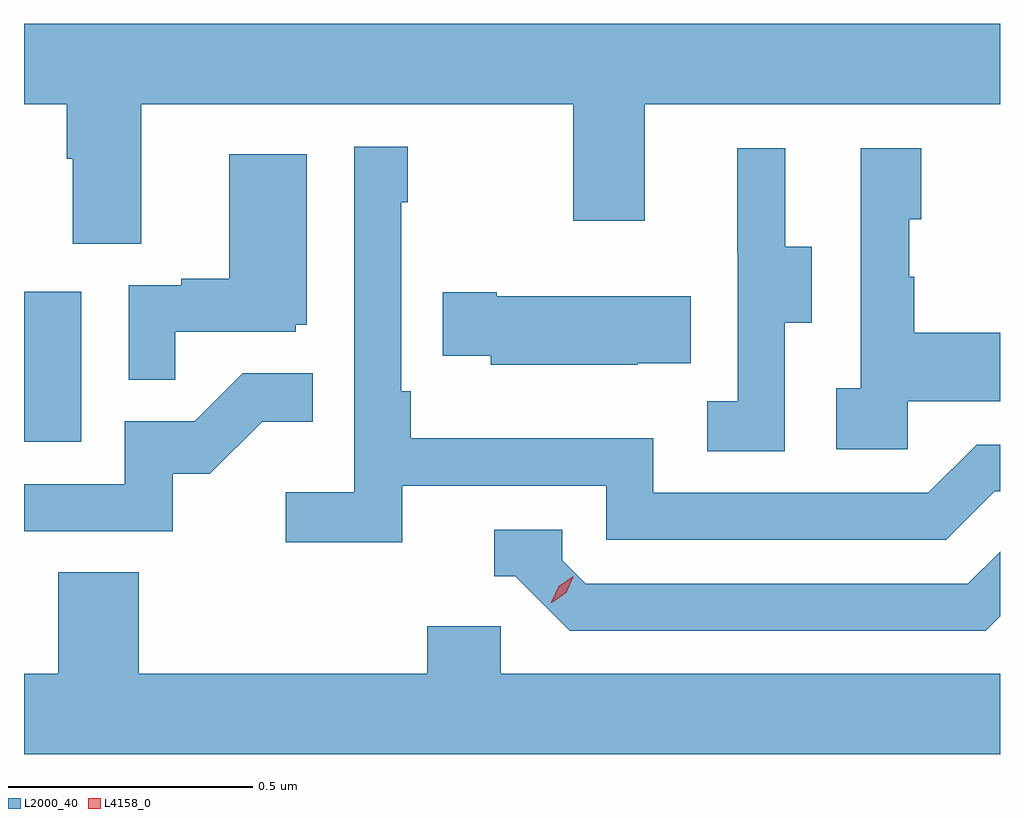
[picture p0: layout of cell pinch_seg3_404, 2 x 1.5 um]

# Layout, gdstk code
import gdstk
lib = gdstk.Library(unit=1e-6, precision=1e-09)
def R(c, l, rs):  # rectangles x0, y0, x1, y1
    for r in rs: c.add(gdstk.rectangle(r[:2], r[2:], *l))
def P(c, l, *ps):  # polygons
    for p in ps: c.add(gdstk.Polygon(p, *l))
L2000_40 = (2000, 40)
L4158_0 = (4158, 0)

pinch_seg3_404 = lib.new_cell('pinch_seg3_404')
R(pinch_seg3_404, L2000_40, [(949.249,693.564,949.366,693.871)])
P(pinch_seg3_404, L2000_40, [(949.489,694.256),(950.374,694.256),(950.374,694.017),(950.521,694.017),(950.521,694.256),(951.249,694.256),(951.249,694.42),(949.249,694.42),(949.249,694.256),(949.337,694.256),(949.337,694.144),(949.349,694.144),(949.349,693.97),(949.489,693.97)],
  [(950.024,693.474),(950.442,693.474),(950.442,693.363),(951.139,693.363),(951.238,693.462),(951.249,693.462),(951.249,693.558),(951.201,693.558),(951.102,693.459),(950.538,693.459),(950.538,693.571),(950.042,693.571),(950.042,693.667),(950.022,693.667),(950.022,694.055),(950.035,694.055),(950.035,694.168),(949.926,694.168),(949.926,693.46),(949.785,693.46),(949.785,693.358),(950.024,693.358)],
  [(951.06,693.647),(951.249,693.647),(951.249,693.787),(951.073,693.787),(951.073,693.902),(951.063,693.902),(951.063,694.02),(951.088,694.02),(951.088,694.165),(950.964,694.165),(950.964,693.674),(950.913,693.674),(950.913,693.549),(951.06,693.549)],
  [(950.808,693.808),(950.863,693.808),(950.863,693.963),(950.809,693.963),(950.809,694.165),(950.711,694.165),(950.711,693.951),(950.712,693.951),(950.712,693.647),(950.649,693.647),(950.649,693.544),(950.808,693.544)],
  [(949.559,693.789),(949.806,693.789),(949.806,693.804),(949.828,693.804),(949.828,694.153),(949.67,694.153),(949.67,693.898),(949.571,693.898),(949.571,693.885),(949.464,693.885),(949.464,693.691),(949.559,693.691)],
  [(950.507,693.725),(950.615,693.725),(950.615,693.862),(950.218,693.862),(950.218,693.87),(950.107,693.87),(950.107,693.74),(950.205,693.74),(950.205,693.722),(950.507,693.722)],
  [(949.554,693.498),(949.63,693.498),(949.737,693.605),(949.841,693.605),(949.841,693.704),(949.697,693.704),(949.599,693.606),(949.455,693.606),(949.455,693.477),(949.249,693.477),(949.249,693.381),(949.554,693.381)],
  [(951.249,693.206),(951.249,693.339),(951.183,693.273),(950.4,693.273),(950.352,693.321),(950.352,693.384),(950.213,693.384),(950.213,693.288),(950.256,693.288),(950.367,693.177),(951.22,693.177)],
  [(951.249,693.088),(950.226,693.088),(950.226,693.186),(950.075,693.186),(950.075,693.088),(949.484,693.088),(949.484,693.296),(949.319,693.296),(949.319,693.088),(949.249,693.088),(949.249,692.924),(951.249,692.924)])
P(pinch_seg3_404, L4158_0, [(950.329,693.234),(950.329,693.235),(950.345,693.268),(950.375,693.288),(950.375,693.288),(950.375,693.287),(950.36,693.254),(950.33,693.234)])

lib.write_gds('pinch_seg3_404.gds')
